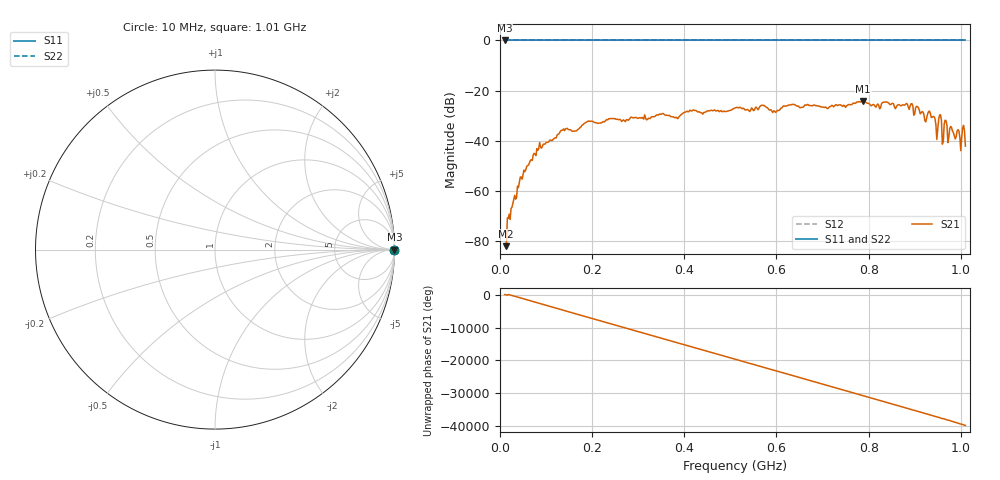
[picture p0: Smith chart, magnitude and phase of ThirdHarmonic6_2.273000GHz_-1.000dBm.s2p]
! 8/17/2025 2:53:37 AM
! C:\ANRITSUVNA\TEMP\TEMP.S2P
! CHANNEL.1
! TR.MEASUREMENT
! RAW.DATA
! RF.CORRECTION.OFF
! AVERAGING.OFF
! IF.BANDWIDTH: 5KHZ
! SWEEPTYPE:  FREQ.SWEEP(Linear)
! Reference Plane Port Info
! PORT:  PORT1  PORT2
! DISTANCE:  0  m  0  m
! TIME:  0  s  0  s
! PHASE.OFFSET:  0  deg.  0  deg.
! LOSS:  0  dB  0  dB
! REF.LOSS:  0  dB  0  dB
! REF.FREQ:  0  Hz  0  Hz
! Power Info
! POWER:  -20  dBm  -20  dBm
! EFF.POWER:  -20  dBm  -20  dBm
! SOURCE.ATTEN:  0  dB  0  dB
! TEST.ATTEN:  0  dB  0  dB
# GHZ S RI R 50.0
! FREQ.GHZ  S11RE  S11IM  S21RE  S21IM  S12RE  S12IM  S22RE  S22IM
!; PortSelection: Port_12
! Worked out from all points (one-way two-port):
!   501 points, 10 MHz to 1.01 GHz, reference 50 ohm
!   highest |S21| = -24.22 dB at 788 MHz (marker M1); lowest = -82.2 dB at 12 MHz (marker M2)
!   lowest |S11| = 0.0 dB at 10 MHz (marker M3)
!   |S11| at or under -10 dB: nowhere
!   |S22| runs from 0.0 to 0.0 dB; largest |S21 - S12| = 1.1
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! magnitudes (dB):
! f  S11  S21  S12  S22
! 10 MHz  0.0  -81.7  0.0  0.0
! 12 MHz  0.0  -82.2  0.0  0.0
! 20 MHz  0.0  -69.4  0.0  0.0
! 42 MHz  0.0  -56.6  0.0  0.0
! 84 MHz  0.0  -43.3  0.0  0.0
! 134 MHz  0.0  -35.9  0.0  0.0
! 178 MHz  0.0  -33.8  0.0  0.0
! 344 MHz  0.0  -29.8  0.0  0.0
! 382 MHz  0.0  -30.6  0.0  0.0
! 510 MHz  0.0  -27.0  0.0  0.0
! 570 MHz  0.0  -25.9  0.0  0.0
! 596 MHz  0.0  -28.2  0.0  0.0
! 678 MHz  0.0  -26.1  0.0  0.0
! 788 MHz  0.0  -24.2  0.0  0.0
! 844 MHz  0.0  -25.1  0.0  0.0
! 906 MHz  0.0  -26.4  0.0  0.0
! 922 MHz  0.0  -32.0  0.0  0.0
! 934 MHz  0.0  -29.2  0.0  0.0
! 946 MHz  0.0  -33.7  0.0  0.0
! 954 MHz  0.0  -29.8  0.0  0.0
! 962 MHz  0.0  -40.4  0.0  0.0
! 1.01 GHz  0.0  -42.2  0.0  0.0
